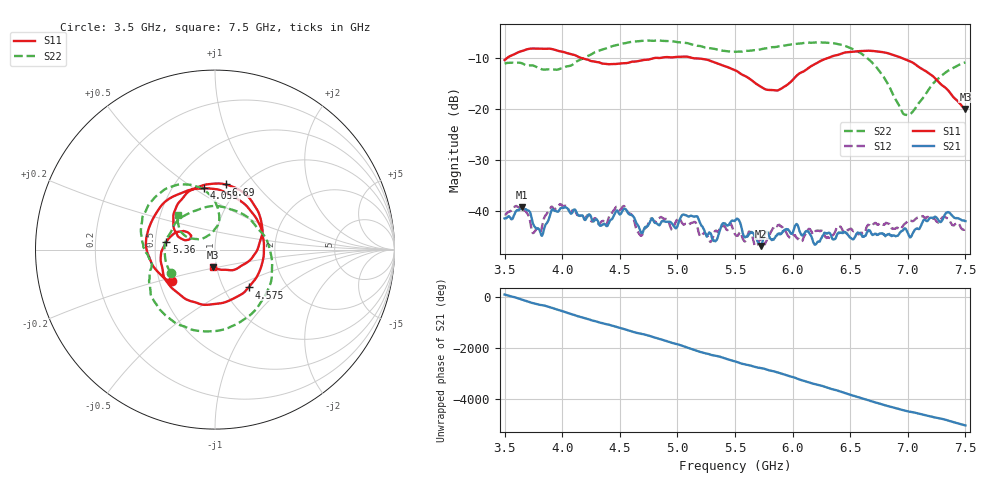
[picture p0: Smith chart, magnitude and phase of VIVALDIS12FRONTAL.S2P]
!Agilent Technologies,E5071B,MY42403545,A.09.10
!Date: Thu Jul 11 05:47:04 2019
!Data & Calibration Information:
!Freq	S11:SOLT2(ON)	S21:SOLT2(ON)	S12:SOLT2(ON)	S22:SOLT2(ON)
# Hz S dB R 50
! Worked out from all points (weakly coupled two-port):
!   801 points, 3.5 GHz to 7.5 GHz, reference 50 ohm
!   highest |S21| = -39.20 dB at 3.65 GHz (marker M1); lowest = -46.9 dB at 5.725 GHz (marker M2)
!   lowest |S11| = -20.1 dB at 7.5 GHz (marker M3), VSWR 1.22, Z = 48.1 - j9.59 ohm
!   |S11| at or under -10 dB: 4.156 GHz to 4.867 GHz (711.4 MHz wide, 15.8 % of centre); 5.115 GHz to 6.317 GHz (1.202 GHz wide, 21 % of centre); 6.939 GHz to end of sweep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
!   |S22| runs from -21.2 to -6.6 dB; largest |S21 - S12| = 0.016
!   S11 on the Smith chart (normalised r, x): 3.5 GHz: 0.58, -0.22; 4.055 GHz: 0.71, +0.55; 4.575 GHz: 1.31, -0.60; 5.36 GHz: 0.57, +0.05; 6.69 GHz: 0.85, +0.71; 7.5 GHz: 0.96, -0.19
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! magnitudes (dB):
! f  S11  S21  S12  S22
! 3.5 GHz  -10.5  -41.5  -40.6  -11.2
! 3.65 GHz  -8.7  -39.2  -39.4  -11.1
! 3.82 GHz  -8.3  -44.8  -43.6  -12.3
! 3.9 GHz  -8.3  -40.3  -39.3  -12.3
! 4.055 GHz  -9.2  -39.8  -39.7  -11.7
! 4.17 GHz  -10.1  -40.8  -40.9  -10.3
! 4.575 GHz  -11.0  -40.5  -40.4  -7.0
! 4.68 GHz  -10.6  -44.0  -44.8  -6.8
! 4.835 GHz  -10.1  -42.7  -41.5  -6.6
! 5.155 GHz  -10.2  -41.1  -42.2  -7.6
! 5.285 GHz  -10.6  -44.4  -46.1  -8.2
! 5.36 GHz  -11.2  -44.5  -43.9  -8.5
! 5.5 GHz  -12.4  -41.9  -44.5  -8.9
! 5.725 GHz  -15.7  -46.9  -45.5  -8.4
! 5.87 GHz  -16.4  -44.5  -42.8  -7.9
! 6.035 GHz  -13.5  -42.5  -45.2  -7.3
! 6.17 GHz  -11.6  -45.4  -44.3  -7.1
! 6.69 GHz  -8.7  -44.6  -42.9  -11.0
! 6.835 GHz  -9.2  -44.5  -42.5  -15.5
! 7.005 GHz  -10.6  -44.5  -41.9  -21.2
! 7.345 GHz  -16.3  -40.2  -41.5  -12.6
! 7.5 GHz  -20.1  -42.0  -43.4  -10.9
